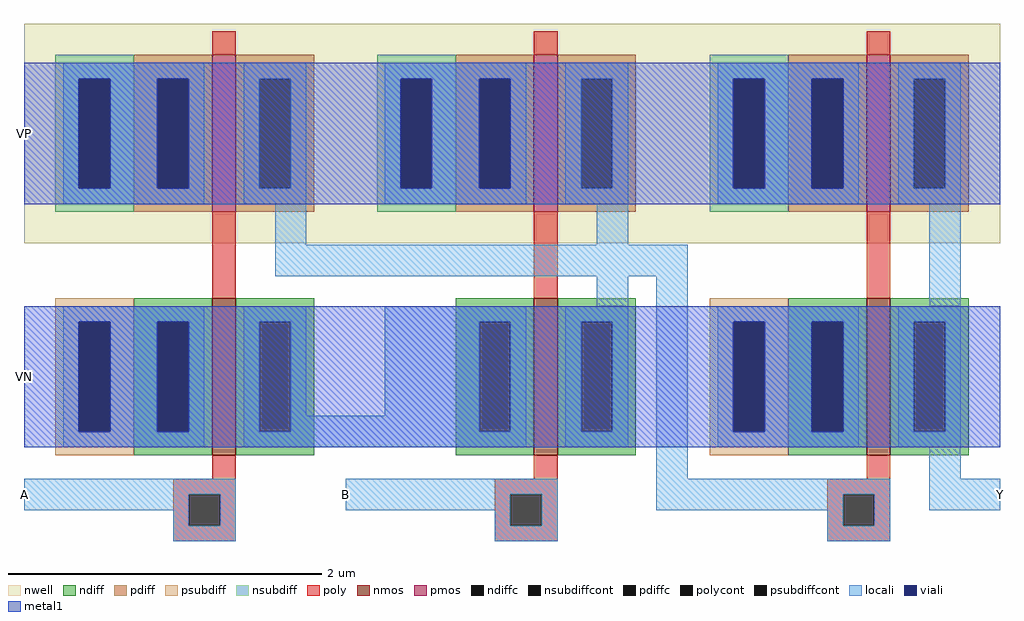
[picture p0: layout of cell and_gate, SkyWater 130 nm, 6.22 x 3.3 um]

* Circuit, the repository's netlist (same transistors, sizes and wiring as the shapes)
* SPICE3 file created from and_gate.ext - technology: sky130A

.subckt inverter A Y VP VN
X0 Y A VN VN sky130_fd_pr__nfet_01v8 ad=5e+11p pd=3e+06u as=5e+11p ps=3e+06u w=1e+06u l=150000u
X1 Y A VP VP sky130_fd_pr__pfet_01v8 ad=5e+11p pd=3e+06u as=5e+11p ps=3e+06u w=1e+06u l=150000u
.ends

.subckt nand_gate A B VP VN Y
X0 Y B a_30_0# VN sky130_fd_pr__nfet_01v8 ad=5e+11p pd=3e+06u as=1e+12p ps=6e+06u w=1e+06u l=150000u
X1 a_30_0# A VN VN sky130_fd_pr__nfet_01v8 ad=0p pd=0u as=5e+11p ps=3e+06u w=1e+06u l=150000u
X2 Y B VP VP sky130_fd_pr__pfet_01v8 ad=1e+12p pd=6e+06u as=1e+12p ps=6e+06u w=1e+06u l=150000u
X3 Y A VP VP sky130_fd_pr__pfet_01v8 ad=0p pd=0u as=0p ps=0u w=1e+06u l=150000u
.ends


* Top level circuit and_gate

Xinverter_0 inverter_0/A Y VP VN inverter
Xnand_gate_0 A B VP VN inverter_0/A nand_gate
.end

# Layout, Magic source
magic
tech sky130A
<< nwell >>
rect 390 300 403 325
rect 390 210 411 300
rect 394 185 407 210
<< locali >>
rect 389 183 408 184
rect -15 15 25 35
rect 190 15 230 35
rect 388 15 408 183
rect 567 15 607 35
<< metal1 >>
rect -15 210 10 300
rect 390 210 411 300
rect -15 55 10 145
rect 391 55 412 145
use inverter  inverter_0
transform 1 0 522 0 1 50
box -120 -55 85 275
use nand_gate  nand_gate_0
transform 1 0 105 0 1 50
box -120 -55 292 275
<< labels >>
rlabel locali -15 25 -15 25 7 A
rlabel locali 190 25 190 25 7 B
rlabel locali 607 25 607 25 3 Y
rlabel metal1 -15 100 -15 100 7 VN
rlabel metal1 -15 255 -15 255 7 VP
<< end >>

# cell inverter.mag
magic
tech sky130A
<< nwell >>
rect -120 135 85 275
<< nmos >>
rect 0 0 15 100
<< pmos >>
rect 0 155 15 255
<< ndiff >>
rect -50 85 0 100
rect -50 15 -35 85
rect -15 15 0 85
rect -50 0 0 15
rect 15 85 65 100
rect 15 15 30 85
rect 50 15 65 85
rect 15 0 65 15
<< pdiff >>
rect -50 240 0 255
rect -50 170 -35 240
rect -15 170 0 240
rect -50 155 0 170
rect 15 240 65 255
rect 15 170 30 240
rect 50 170 65 240
rect 15 155 65 170
<< ndiffc >>
rect -35 15 -15 85
rect 30 15 50 85
<< pdiffc >>
rect -35 170 -15 240
rect 30 170 50 240
<< psubdiff >>
rect -100 85 -50 100
rect -100 15 -85 85
rect -65 15 -50 85
rect -100 0 -50 15
<< nsubdiff >>
rect -100 240 -50 255
rect -100 170 -85 240
rect -65 170 -50 240
rect -100 155 -50 170
<< psubdiffcont >>
rect -85 15 -65 85
<< nsubdiffcont >>
rect -85 170 -65 240
<< poly >>
rect 0 255 15 270
rect 0 100 15 155
rect 0 -15 15 0
rect -25 -25 15 -15
rect -25 -45 -15 -25
rect 5 -45 15 -25
rect -25 -55 15 -45
<< polycont >>
rect -15 -45 5 -25
<< locali >>
rect -95 240 -5 250
rect -95 170 -85 240
rect -65 170 -35 240
rect -15 170 -5 240
rect -95 160 -5 170
rect 20 240 60 250
rect 20 170 30 240
rect 50 170 60 240
rect 20 160 60 170
rect 40 95 60 160
rect -95 85 -5 95
rect -95 15 -85 85
rect -65 15 -35 85
rect -15 15 -5 85
rect -95 5 -5 15
rect 20 85 60 95
rect 20 15 30 85
rect 50 15 60 85
rect 20 5 60 15
rect 40 -15 60 5
rect -120 -25 15 -15
rect -120 -35 -15 -25
rect -25 -45 -15 -35
rect 5 -45 15 -25
rect 40 -35 85 -15
rect -25 -55 15 -45
<< viali >>
rect -85 170 -65 240
rect -35 170 -15 240
rect -85 15 -65 85
rect -35 15 -15 85
<< metal1 >>
rect -120 240 85 250
rect -120 170 -85 240
rect -65 170 -35 240
rect -15 170 85 240
rect -120 160 85 170
rect -120 85 85 95
rect -120 15 -85 85
rect -65 15 -35 85
rect -15 15 85 85
rect -120 5 85 15
<< labels >>
rlabel locali -120 -25 -120 -25 7 A
port 1 w
rlabel metal1 -120 205 -120 205 7 VP
port 3 w
rlabel metal1 -120 50 -120 50 7 VN
port 4 w
rlabel locali 85 -25 85 -25 3 Y
port 2 e
<< end >>

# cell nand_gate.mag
magic
tech sky130A
<< nwell >>
rect -120 135 290 275
<< nmos >>
rect 0 0 15 100
rect 205 0 220 100
<< pmos >>
rect 0 155 15 255
rect 205 155 220 255
<< ndiff >>
rect -50 85 0 100
rect -50 15 -35 85
rect -15 15 0 85
rect -50 0 0 15
rect 15 85 65 100
rect 15 15 30 85
rect 50 15 65 85
rect 15 0 65 15
rect 155 85 205 100
rect 155 15 170 85
rect 190 15 205 85
rect 155 0 205 15
rect 220 85 270 100
rect 220 15 235 85
rect 255 15 270 85
rect 220 0 270 15
<< pdiff >>
rect -50 240 0 255
rect -50 170 -35 240
rect -15 170 0 240
rect -50 155 0 170
rect 15 240 65 255
rect 15 170 30 240
rect 50 170 65 240
rect 15 155 65 170
rect 155 240 205 255
rect 155 170 170 240
rect 190 170 205 240
rect 155 155 205 170
rect 220 240 270 255
rect 220 170 235 240
rect 255 170 270 240
rect 220 155 270 170
<< ndiffc >>
rect -35 15 -15 85
rect 30 15 50 85
rect 170 15 190 85
rect 235 15 255 85
<< pdiffc >>
rect -35 170 -15 240
rect 30 170 50 240
rect 170 170 190 240
rect 235 170 255 240
<< psubdiff >>
rect -100 85 -50 100
rect -100 15 -85 85
rect -65 15 -50 85
rect -100 0 -50 15
<< nsubdiff >>
rect -100 240 -50 255
rect -100 170 -85 240
rect -65 170 -50 240
rect -100 155 -50 170
rect 105 240 155 255
rect 105 170 120 240
rect 140 170 155 240
rect 105 155 155 170
<< psubdiffcont >>
rect -85 15 -65 85
<< nsubdiffcont >>
rect -85 170 -65 240
rect 120 170 140 240
<< poly >>
rect 0 255 15 270
rect 205 255 220 270
rect 0 100 15 155
rect 205 100 220 155
rect 0 -15 15 0
rect 205 -15 220 0
rect -25 -25 15 -15
rect -25 -45 -15 -25
rect 5 -45 15 -25
rect -25 -55 15 -45
rect 180 -25 220 -15
rect 180 -45 190 -25
rect 210 -45 220 -25
rect 180 -55 220 -45
<< polycont >>
rect -15 -45 5 -25
rect 190 -45 210 -25
<< locali >>
rect -95 240 -5 250
rect -95 170 -85 240
rect -65 170 -35 240
rect -15 170 -5 240
rect -95 160 -5 170
rect 20 240 60 250
rect 20 170 30 240
rect 50 170 60 240
rect 20 160 60 170
rect 110 240 200 250
rect 110 170 120 240
rect 140 170 170 240
rect 190 170 200 240
rect 110 160 200 170
rect 225 240 265 250
rect 225 170 235 240
rect 255 170 265 240
rect 225 160 265 170
rect 40 134 60 160
rect 245 134 265 160
rect 40 114 292 134
rect 245 95 265 114
rect -95 85 -5 95
rect -95 15 -85 85
rect -65 15 -35 85
rect -15 15 -5 85
rect -95 5 -5 15
rect 20 85 60 95
rect 20 15 30 85
rect 50 25 60 85
rect 110 85 200 95
rect 110 25 170 85
rect 50 15 170 25
rect 190 15 200 85
rect 20 5 200 15
rect 225 85 265 95
rect 225 15 235 85
rect 255 15 265 85
rect 225 5 265 15
rect -120 -25 15 -15
rect -120 -35 -15 -25
rect -25 -45 -15 -35
rect 5 -45 15 -25
rect 85 -25 220 -15
rect 85 -35 190 -25
rect -25 -55 15 -45
rect 180 -45 190 -35
rect 210 -45 220 -25
rect 180 -55 220 -45
<< viali >>
rect -85 170 -65 240
rect -35 170 -15 240
rect 120 170 140 240
rect 170 170 190 240
rect -85 15 -65 85
rect -35 15 -15 85
<< metal1 >>
rect -120 240 290 250
rect -120 170 -85 240
rect -65 170 -35 240
rect -15 170 120 240
rect 140 170 170 240
rect 190 170 290 240
rect -120 160 290 170
rect -120 85 290 95
rect -120 15 -85 85
rect -65 15 -35 85
rect -15 15 290 85
rect -120 5 290 15
<< labels >>
rlabel locali -120 -25 -120 -25 7 A
port 1 w
rlabel metal1 -120 205 -120 205 7 VP
port 3 w
rlabel metal1 -120 50 -120 50 7 VN
port 4 w
rlabel locali 85 -25 85 -25 7 B
port 2 w
rlabel locali 292 124 292 124 3 Y
port 5 e
<< end >>
